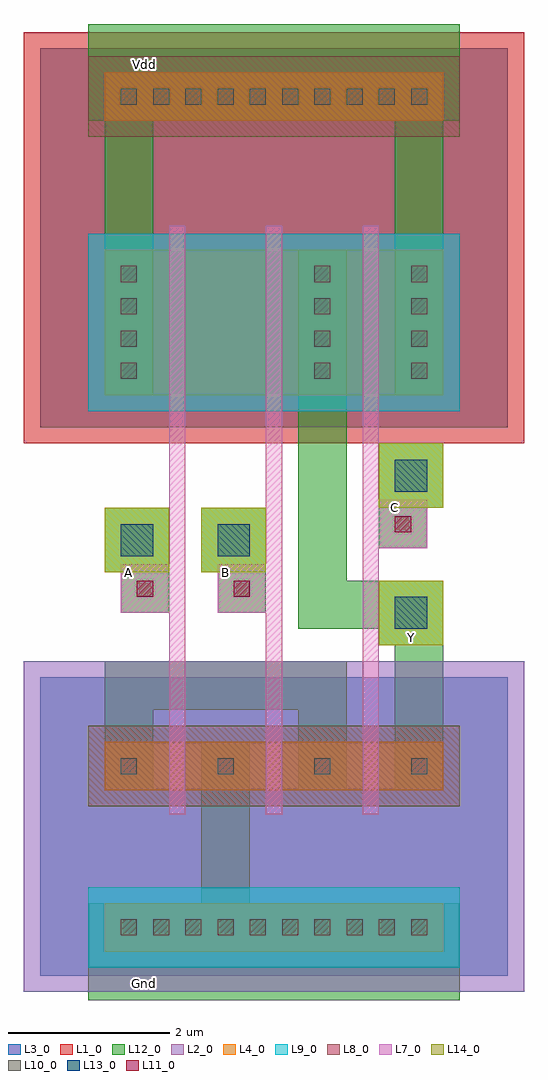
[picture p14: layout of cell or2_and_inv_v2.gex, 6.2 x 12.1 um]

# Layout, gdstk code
import gdstk
lib = gdstk.Library(unit=1e-6, precision=1e-09)
def R(c, l, rs):  # rectangles x0, y0, x1, y1
    for r in rs: c.add(gdstk.rectangle(r[:2], r[2:], *l))
def A(c, l, x, y, w, h, nx, ny, dx, dy):  # array of equal rectangles
    R(c, l, [(x+i*dx, y+j*dy, x+i*dx+w, y+j*dy+h) for i in range(nx) for j in range(ny)])
L1_0 = (1, 0)
L2_0 = (2, 0)
L3_0 = (3, 0)
L4_0 = (4, 0)
L7_0 = (7, 0)
L8_0 = (8, 0)
L9_0 = (9, 0)
L10_0 = (10, 0)
L11_0 = (11, 0)
L12_0 = (12, 0)
L13_0 = (13, 0)
L14_0 = (14, 0)

or2_and_inv_v2_gex = lib.new_cell('or2_and_inv_v2.gex')
R(or2_and_inv_v2_gex, L1_0, [(-0.8,6.9,5.4,12)])
R(or2_and_inv_v2_gex, L2_0, [(-0.8,0.1,5.4,4.2)])
R(or2_and_inv_v2_gex, L3_0, [(-0.6,0.3,5.2,4), (-0.6,7.1,5.2,11.8)])
R(or2_and_inv_v2_gex, L4_0, [(0.2,0.6,4.4,1.2), (0.2,2.6,4.4,3.2), (0.2,7.5,4.4,9.3), (3.8,7.5,4.4,9.3), (0.2,10.9,4.4,11.5)])
A(or2_and_inv_v2_gex, L7_0, 1, 2.3, 0.2, 7.3, 3, 1, 1.2, 0)
R(or2_and_inv_v2_gex, L7_0, [(0.4,4.8,1,5.4), (1.6,4.8,2.2,5.4), (3.6,5.6,4.2,6.2)])
R(or2_and_inv_v2_gex, L8_0, [(0,2.4,4.6,3.4), (0,10.7,4.6,11.7)])
R(or2_and_inv_v2_gex, L9_0, [(0,0.4,4.6,1.4), (0,7.3,4.6,9.5)])
A(or2_and_inv_v2_gex, L10_0, 0.4, 0.8, 0.2, 0.2, 10, 1, 0.4, 0)
A(or2_and_inv_v2_gex, L10_0, 0.4, 2.8, 0.2, 0.2, 4, 1, 1.2, 0)
A(or2_and_inv_v2_gex, L10_0, 0.4, 7.7, 0.2, 0.2, 1, 4, 0, 0.4)
A(or2_and_inv_v2_gex, L10_0, 2.8, 7.7, 0.2, 0.2, 1, 4, 0, 0.4)
A(or2_and_inv_v2_gex, L10_0, 4, 7.7, 0.2, 0.2, 1, 4, 0, 0.4)
A(or2_and_inv_v2_gex, L10_0, 0.4, 11.1, 0.2, 0.2, 4, 1, 0.4, 0)
A(or2_and_inv_v2_gex, L10_0, 2.8, 11.1, 0.2, 0.2, 4, 1, 0.4, 0)
R(or2_and_inv_v2_gex, L10_0, [(1.6,11.1,1.8,11.3), (2,11.1,2.2,11.3), (2,11.1,2.2,11.3), (2.4,11.1,2.6,11.3), (2.4,11.1,2.6,11.3), (2.8,11.1,3,11.3)])
R(or2_and_inv_v2_gex, L11_0, [(0.6,5,0.8,5.2), (1.8,5,2,5.2), (3.8,5.8,4,6)])
R(or2_and_inv_v2_gex, L12_0, [(0,0,4.6,1.2), (1.4,1.2,2,3.2), (0.2,2.6,0.8,4.2), (2.6,2.6,3.2,4.2), (3.8,2.6,4.4,4.4), (0.8,3.6,2.6,4.2), (3.6,4.4,4.4,5.2), (2.6,4.6,3.2,9.3), (3.2,4.6,3.6,5.2), (0.4,4.8,1,5.4), (1.6,4.8,2.2,5.4), (0.2,5.3,1,6.1), (1.4,5.3,2.2,6.1), (3.6,5.6,4.2,6.2), (3.6,6.1,4.4,6.9), (0.2,7.5,0.8,10.9), (3.8,7.5,4.4,10.9), (0,10.9,4.6,12.1)])
R(or2_and_inv_v2_gex, L13_0, [(3.8,4.6,4.2,5), (0.4,5.5,0.8,5.9), (1.6,5.5,2,5.9), (3.8,6.3,4.2,6.7)])
R(or2_and_inv_v2_gex, L14_0, [(3.6,4.4,4.4,5.2), (0.2,5.3,1,6.1), (1.4,5.3,2.2,6.1), (3.6,6.1,4.4,6.9)])
or2_and_inv_v2_gex.add(gdstk.Label('Vdd', (0.7,11.6), layer=12, texttype=0))
or2_and_inv_v2_gex.add(gdstk.Label('B', (1.7,5.3), layer=12, texttype=0))
or2_and_inv_v2_gex.add(gdstk.Label('Gnd', (0.7,0.2), layer=12, texttype=0))
or2_and_inv_v2_gex.add(gdstk.Label('A', (0.5,5.3), layer=12, texttype=0))
or2_and_inv_v2_gex.add(gdstk.Label('Y', (4,4.5), layer=12, texttype=0))
or2_and_inv_v2_gex.add(gdstk.Label('C', (3.8,6.1), layer=12, texttype=0))

lib.write_gds('or2_and_inv_v2.gex.gds')
